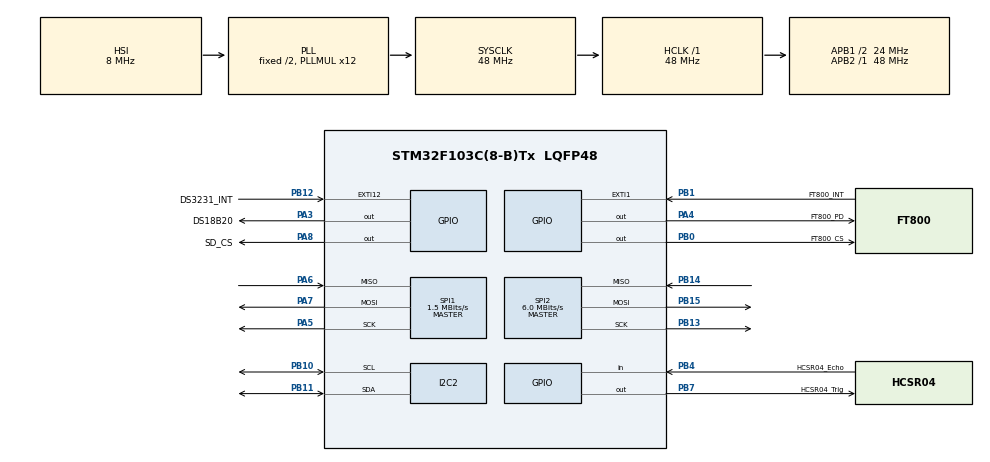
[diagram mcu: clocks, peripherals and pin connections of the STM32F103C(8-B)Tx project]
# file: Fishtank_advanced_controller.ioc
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I2C2.I2C_Mode=I2C_Standard
Mcu.Family=STM32F1
Mcu.Name=STM32F103C(8-B)Tx
Mcu.Package=LQFP48
NVIC.EXTI15_10_IRQn=true\:0\:0\:false\:false\:true\:true
NVIC.PriorityGroup=NVIC_PRIORITYGROUP_4
PA13.Mode=Serial_Wire
PA13.Signal=SYS_JTMS-SWDIO
PA14.Mode=Serial_Wire
PA14.Signal=SYS_JTCK-SWCLK
PA3.GPIO_Label=DS18B20
PA3.Signal=GPIO_Output
PA4.GPIO_Label=FT800_PD
PA4.Signal=GPIO_Output
PA5.Mode=Full_Duplex_Master
PA5.Signal=SPI1_SCK
PA6.Mode=Full_Duplex_Master
PA6.Signal=SPI1_MISO
PA7.Mode=Full_Duplex_Master
PA7.Signal=SPI1_MOSI
PA8.GPIO_Label=SD_CS
PA8.Signal=GPIO_Output
PB0.GPIO_Label=FT800_CS
PB0.Signal=GPIO_Output
PB1.GPIO_Label=FT800_INT
PB1.Signal=GPXTI1
PB10.Mode=I2C
PB10.Signal=I2C2_SCL
PB11.Mode=I2C
PB11.Signal=I2C2_SDA
PB12.GPIO_Label=DS3231_INT
PB12.GPIO_PuPd=GPIO_NOPULL
PB12.Signal=GPXTI12
PB13.Mode=Full_Duplex_Master
PB13.Signal=SPI2_SCK
PB14.Mode=Full_Duplex_Master
PB14.Signal=SPI2_MISO
PB15.Mode=Full_Duplex_Master
PB15.Signal=SPI2_MOSI
PB4.GPIO_Label=HCSR04_Echo
PB4.GPIO_PuPd=GPIO_NOPULL
PB4.Signal=GPIO_Input
PB7.GPIO_Label=HCSR04_Trig
PB7.Signal=GPIO_Output
ProjectManager.HeapSize=0x200
ProjectManager.StackSize=0x400
ProjectManager.TargetToolchain=SW4STM32
RCC.AHBFreq_Value=48000000
RCC.APB1CLKDivider=RCC_HCLK_DIV2
RCC.APB1Freq_Value=24000000
RCC.APB1TimFreq_Value=48000000
RCC.APB2Freq_Value=48000000
RCC.APB2TimFreq_Value=48000000
RCC.HCLKFreq_Value=48000000
RCC.PLLMUL=RCC_PLL_MUL12
RCC.SYSCLKFreq_VALUE=48000000
RCC.SYSCLKSource=RCC_SYSCLKSOURCE_PLLCLK
RCC.USBFreq_Value=48000000
SPI1.BaudRatePrescaler=SPI_BAUDRATEPRESCALER_32
SPI1.CalculateBaudRate=1.5 MBits/s
SPI1.Direction=SPI_DIRECTION_2LINES
SPI1.Mode=SPI_MODE_MASTER
SPI1.VirtualType=VM_MASTER
SPI2.BaudRatePrescaler=SPI_BAUDRATEPRESCALER_4
SPI2.CalculateBaudRate=6.0 MBits/s
SPI2.Direction=SPI_DIRECTION_2LINES
SPI2.Mode=SPI_MODE_MASTER
SPI2.VirtualType=VM_MASTER
TIM3.Period=65535
TIM3.Prescaler=47
VP_CRC_VS_CRC.Mode=CRC_Activate
VP_FATFS_VS_Generic.Mode=User_defined
VP_TIM3_VS_ClockSourceINT.Mode=Internal
board=Fishtank_advanced_controller

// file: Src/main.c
/**
  ******************************************************************************
  * File Name          : main.c
  * Description        : Main program body
  ******************************************************************************
  * This notice applies to any and all portions of this file
  * that are not between comment pairs USER CODE BEGIN and
  * USER CODE END. Other portions of this file, whether
  * inserted by the user or by software development tools
  * are owned by their respective copyright owners.
  *
  * Copyright (c) 2018 STMicroelectronics International N.V.
  * All rights reserved.
  *
  * Redistribution and use in source and binary forms, with or without
  * modification, are permitted, provided that the following conditions are met:
  *
  * 1. Redistribution of source code must retain the above copyright notice,
  *    this list of conditions and the following disclaimer.
  * 2. Redistributions in binary form must reproduce the above copyright notice,
  *    this list of conditions and the following disclaimer in the documentation
  *    and/or other materials provided with the distribution.
  * 3. Neither the name of STMicroelectronics nor the names of other
  *    contributors to this software may be used to endorse or promote products
  *    derived from this software without specific written permission.
  * 4. This software, including modifications and/or derivative works of this
  *    software, must execute solely and exclusively on microcontroller or
  *    microprocessor devices manufactured by or for STMicroelectronics.
  * 5. Redistribution and use of this software other than as permitted under
  *    this license is void and will automatically terminate your rights under
  *    this license.
  *
  * THIS SOFTWARE IS PROVIDED BY STMICROELECTRONICS AND CONTRIBUTORS "AS IS"
  * AND ANY EXPRESS, IMPLIED OR STATUTORY WARRANTIES, INCLUDING, BUT NOT
  * LIMITED TO, THE IMPLIED WARRANTIES OF MERCHANTABILITY, FITNESS FOR A
  * PARTICULAR PURPOSE AND NON-INFRINGEMENT OF THIRD PARTY INTELLECTUAL PROPERTY
  * RIGHTS ARE DISCLAIMED TO THE FULLEST EXTENT PERMITTED BY LAW. IN NO EVENT
  * SHALL STMICROELECTRONICS OR CONTRIBUTORS BE LIABLE FOR ANY DIRECT, INDIRECT,
  * INCIDENTAL, SPECIAL, EXEMPLARY, OR CONSEQUENTIAL DAMAGES (INCLUDING, BUT NOT
  * LIMITED TO, PROCUREMENT OF SUBSTITUTE GOODS OR SERVICES; LOSS OF USE, DATA,
  * OR PROFITS; OR BUSINESS INTERRUPTION) HOWEVER CAUSED AND ON ANY THEORY OF
  * LIABILITY, WHETHER IN CONTRACT, STRICT LIABILITY, OR TORT (INCLUDING
  * NEGLIGENCE OR OTHERWISE) ARISING IN ANY WAY OUT OF THE USE OF THIS SOFTWARE,
  * EVEN IF ADVISED OF THE POSSIBILITY OF SUCH DAMAGE.
  *
  ******************************************************************************
  */
#include "main.h"
#include "stm32f1xx_hal.h"
#include "crc.h"
#include "fatfs.h"
#include "i2c.h"
#include "spi.h"
#include "tim.h"
#include "gpio.h"

/* USER CODE BEGIN Includes */
#include "FT_Platform.h"
#include "onewire.h"
#include "ds18b20.h"
#include "hcsr04.h"
#include "ds3231.h"
#include "stm32_adafruit_sd.h"
#include "images/images.h"

#define SD_CARD_NOT_FORMATTED                    0
#define SD_CARD_FILE_NOT_SUPPORTED               1
#define SD_CARD_OPEN_FAIL                        2
#define FATFS_NOT_MOUNTED                        3
#define BSP_SD_INIT_FAILED                       4

/* USER CODE END Includes */

/* USER CODE BEGIN PV */
/* Private variables ---------------------------------------------------------*/
Ft_Gpu_Hal_Context_t host;

ft_char8_t StringArray[20];
void(* menu_actual)(void);
uint16_t touch_tag = 0;
uint16_t x_data[] = {1,2,3,4,5,6,7,8,9,10,11,12,13,14,15,16,17,18,19,20};
uint16_t y_data[] = {10,43,38,32,28,22,30,31,32,33,10,15,18,13,17,20,24,35,28,29,50};
uint32_t track_data = 0;
uint16_t value = 50;
uint16_t value2 = 230;
uint8_t brightness = 128;
char bufor[60];
char file_buf[10];

OneWire_t OW;
uint8_t DS_ROM[8];
float temperature;

float distance;

Ft_Bitmap_header_t *p_bmhdr;
uint32_t ending_address;

uint8_t sd_ok = 0, fopen_ok = 0, fmount_ok = 0, fwrite_ok = 0, fclose_ok = 0;
/* USER CODE END PV */

void SystemClock_Config(void);

/* USER CODE BEGIN PFP */
/* Private function prototypes -----------------------------------------------*/
int32_t map(int32_t value, int32_t inMin, int32_t inMax, int32_t outMin, int32_t outMax);
void test_screen(void);
void menu1(void);
void menu2(void);
/* USER CODE END PFP */

int main(void)
{

  /* MCU Configuration----------------------------------------------------------*/

  /* Reset of all peripherals, Initializes the Flash interface and the Systick. */
  HAL_Init();

  /* Configure the system clock */
  SystemClock_Config();

  /* Initialize all configured peripherals */
  MX_GPIO_Init();
  MX_SPI1_Init();
  MX_CRC_Init();
  MX_TIM3_Init();
  MX_I2C2_Init();
  MX_SPI2_Init();

  /* USER CODE BEGIN 2 */
  MX_FATFS_Init();

  uint32_t wbytes; /* File write counts */
  uint8_t wtext[] = "text to write logical disk"; /* File write buffer */

  Ft_Gpu_Hal_Init_43CTP(&host);
  MX_SPI1_SpeedUp();	//Speed-up SPI for FT800

	HAL_Delay(100);
	Ft_Gpu_CoCmd_Track(&host, 50, 240, 400, 20, 10);
	menu_actual = menu1;
// OneWire configuration

	OneWire_Init(&OW, DS18B20_GPIO_Port, DS18B20_Pin);

	if (OneWire_First(&OW))
		OneWire_GetFullROM(&OW, DS_ROM);
	if (DS18B20_Is(DS_ROM))
	{
		/* Set resolution */
		DS18B20_SetResolution(&OW, DS_ROM, DS18B20_Resolution_12bits);

		/* Start conversion on all sensors */
		DS18B20_StartAll(&OW);
	}

// HCSR04 init
	HCSR04_Init();

// RTC Init
	DS3231_Init(&rtc, &hi2c2, DS3231_I2C_ADDR);

// Load Icon into FT800

			Ft_Gpu_Hal_WrCmd32(&host,CMD_INFLATE);
			//	specify starting address in graphics RAM
				IMG_Icon_back_header->Address = 0L;
				Ft_Gpu_Hal_WrCmd32(&host,IMG_Icon_back_header->Address);
			//	write the .binh contents to the FT800 FIFO command buffer, filesize=
				Ft_Gpu_Hal_WrCmdBuf(&host, IMG_Icon_back_data, 1492);
				while(Ft_Gpu_Hal_Rd16(&host,REG_CMD_WRITE)!=Ft_Gpu_Hal_Rd16(&host, REG_CMD_READ));//Wait till the compression was done
				uint16_t x = Ft_Gpu_Hal_Rd16(&host,REG_CMD_WRITE);
				Ft_Gpu_CoCmd_GetPtr(&host,0);
				IMG_Icon_settings_header->Address = Ft_Gpu_Hal_Rd32(&host,(RAM_CMD+x+4));

				Ft_Gpu_Hal_WrCmd32(&host,CMD_INFLATE);
			//	specify starting address in graphics RAM
				Ft_Gpu_Hal_WrCmd32(&host,IMG_Icon_settings_header->Address);
			//	write the .binh contents to the FT800 FIFO command buffer, filesize=
				Ft_Gpu_Hal_WrCmdBuf(&host, IMG_Icon_settings_data, 1486);
				while(Ft_Gpu_Hal_Rd16(&host,REG_CMD_WRITE)!=Ft_Gpu_Hal_Rd16(&host, REG_CMD_READ));//Wait till the compression was done
				x = Ft_Gpu_Hal_Rd16(&host,REG_CMD_WRITE);
				Ft_Gpu_CoCmd_GetPtr(&host,0);
				IMG_Phial_header->Address = Ft_Gpu_Hal_Rd32(&host,(RAM_CMD + x + 4));

				Ft_Gpu_Hal_WrCmd32(&host,CMD_INFLATE);
			//	specify starting address in graphics RAM
				Ft_Gpu_Hal_WrCmd32(&host,IMG_Phial_header->Address);
			//	write the .binh contents to the FT800 FIFO command buffer, filesize=
				Ft_Gpu_Hal_WrCmdBuf(&host, IMG_Phial_data, 1992);
				while(Ft_Gpu_Hal_Rd16(&host,REG_CMD_WRITE)!=Ft_Gpu_Hal_Rd16(&host, REG_CMD_READ));//Wait till the compression was done
				x = Ft_Gpu_Hal_Rd16(&host,REG_CMD_WRITE);
				Ft_Gpu_CoCmd_GetPtr(&host,0);
				Ft_Gpu_Hal_Rd32(&host,(RAM_CMD + x + 4));

				uint8_t i = 0;
  /* USER CODE END 2 */

  /* Infinite loop */
  while (1)
  {

  /* USER CODE BEGIN 3 */
		/* Check if connected device is DS18B20 */
		if (DS18B20_Is(DS_ROM)) {
			/* Everything is done */
			if (DS18B20_AllDone(&OW)) {
				/* Read temperature from device */
				if (DS18B20_Read(&OW, DS_ROM, &temperature)) {
					/* Temp read OK, CRC is OK */

					/* Start again on all sensors */
					DS18B20_StartAll(&OW);

				}
			}
		}
//		DS3231_Get_RTC(&rtc);
		distance = HCSR04_Read();

		UINT tmp;
		if(FR_OK != f_open(&USERFile, "test.txt", FA_OPEN_ALWAYS | FA_READ | FA_WRITE))
			if(FR_OK != f_lseek(&USERFile, f_size(&USERFile)))
					fopen_ok = 1;

		char buf_tmp[10];
		memset(buf_tmp, 0x00, sizeof(buf_tmp));
		sprintf(buf_tmp, "TEST%d ", i++);

		if(FR_OK != f_write(&USERFile, buf_tmp, 10, &tmp))
				fwrite_ok = 1;
		f_close(&USERFile);

			  menu_actual();

  }
  /* USER CODE END 3 */

}

/** System Clock Configuration
*/
void SystemClock_Config(void)
{

  RCC_OscInitTypeDef RCC_OscInitStruct;
  RCC_ClkInitTypeDef RCC_ClkInitStruct;

    /**Initializes the CPU, AHB and APB busses clocks
    */
  RCC_OscInitStruct.OscillatorType = RCC_OSCILLATORTYPE_HSI;
  RCC_OscInitStruct.HSIState = RCC_HSI_ON;
  RCC_OscInitStruct.HSICalibrationValue = 16;
  RCC_OscInitStruct.PLL.PLLState = RCC_PLL_ON;
  RCC_OscInitStruct.PLL.PLLSource = RCC_PLLSOURCE_HSI_DIV2;
  RCC_OscInitStruct.PLL.PLLMUL = RCC_PLL_MUL12;
  if (HAL_RCC_OscConfig(&RCC_OscInitStruct) != HAL_OK)
  {
    _Error_Handler(__FILE__, __LINE__);
  }

    /**Initializes the CPU, AHB and APB busses clocks
    */
  RCC_ClkInitStruct.ClockType = RCC_CLOCKTYPE_HCLK|RCC_CLOCKTYPE_SYSCLK
                              |RCC_CLOCKTYPE_PCLK1|RCC_CLOCKTYPE_PCLK2;
  RCC_ClkInitStruct.SYSCLKSource = RCC_SYSCLKSOURCE_PLLCLK;
  RCC_ClkInitStruct.AHBCLKDivider = RCC_SYSCLK_DIV1;
  RCC_ClkInitStruct.APB1CLKDivider = RCC_HCLK_DIV2;
  RCC_ClkInitStruct.APB2CLKDivider = RCC_HCLK_DIV1;

  if (HAL_RCC_ClockConfig(&RCC_ClkInitStruct, FLASH_LATENCY_1) != HAL_OK)
  {
    _Error_Handler(__FILE__, __LINE__);
  }

    /**Configure the Systick interrupt time
    */
  HAL_SYSTICK_Config(HAL_RCC_GetHCLKFreq()/1000);

    /**Configure the Systick
    */
  HAL_SYSTICK_CLKSourceConfig(SYSTICK_CLKSOURCE_HCLK);

  /* SysTick_IRQn interrupt configuration */
  HAL_NVIC_SetPriority(SysTick_IRQn, 0, 0);
}

/* USER CODE BEGIN 4 */

void HAL_GPIO_EXTI_Callback(uint16_t GPIO_Pin)
{
	if(GPIO_Pin == DS3231_INT_Pin)
	{
		DS3231_Get_RTC(&rtc);
	}
}

int32_t map(int32_t value, int32_t inMin, int32_t inMax, int32_t outMin, int32_t outMax)
{
	return (value - inMin) * (outMax - outMin) / (inMax - inMin) + outMin;
}

unsigned int incCMDOffset(unsigned int currentOffset, unsigned char commandSize)
{
    unsigned int newOffset;															// Used to hold new offset
    newOffset = currentOffset + commandSize;						// Calculate new offset
    if(newOffset > 4095)																// If new offset past boundary...
    {
        newOffset = (newOffset - 4096);									// ... roll over pointer
    }
    return newOffset;																		// Return new offset
}

void menu1()
{
	Ft_Gpu_CoCmd_Dlstart(&host);

			/*Setting first screen*/
			Ft_App_WrCoCmd_Buffer(&host,CLEAR_COLOR_RGB(0xFF,0xFF,0xFF));//white color
			Ft_App_WrCoCmd_Buffer(&host,CLEAR(1,1,1));//clear screen

			track_data = Ft_Gpu_Hal_Rd32(&host, REG_TRACKER);
			if((track_data & 0xff) == 10)
				value = (track_data >> 16);

			Ft_App_WrCoCmd_Buffer(&host,COLOR_RGB(0xFF,0xFF,0x20));//red color
			Ft_Gpu_CoCmd_FgColor(&host, COLOR_RGB(0x00, 0x06, 0x70));
			Ft_App_WrCoCmd_Buffer(&host,TAG(10));
			Ft_Gpu_CoCmd_Slider(&host, 50, 240, 400, 20, 0, value, 0xFFFFFF);

			Ft_App_WrCoCmd_Buffer(&host,COLOR_RGB(0x01,0x00,0x00));
			sprintf(bufor, "ID: %u", track_data & 0xFF);
			Ft_Gpu_CoCmd_Text(&host, 10, 180, 28, 0, bufor);
			sprintf(bufor, "Val: %u", value);
			Ft_Gpu_CoCmd_Text(&host, 10, 200, 28, 0, bufor);

			Ft_App_WrCoCmd_Buffer(&host,COLOR_RGB(0x01,0x00,0x00));
			sprintf(bufor, "%2d:%02d:%02d", rtc.hour, rtc.min, rtc.sec);
			Ft_Gpu_CoCmd_Text(&host, 10, 100, 28, 0, bufor);

			sprintf(bufor, "%s %2d.%02d.%04d", rtc.week_day, rtc.mday, rtc.mon, rtc.year);
			Ft_Gpu_CoCmd_Text(&host, 10, 120, 28, 0, bufor);

			if(!sd_ok)
			{
				sprintf(bufor, "SD OK");
				Ft_Gpu_CoCmd_Text(&host, 10, 140, 28, 0, bufor);
			}
			else
			{
				sprintf(bufor, "SD ERROR");
				Ft_Gpu_CoCmd_Text(&host, 10, 140, 28, 0, bufor);
			}

			if(!fmount_ok)
			{
				sprintf(bufor, "fmount OK");
				Ft_Gpu_CoCmd_Text(&host, 10, 160, 28, 0, bufor);
			}
			else
			{
				sprintf(bufor, "fmount ERROR");
				Ft_Gpu_CoCmd_Text(&host, 10, 160, 28, 0, bufor);
			}

			if(!fopen_ok)
			{
				sprintf(bufor, "fopen OK");
				Ft_Gpu_CoCmd_Text(&host, 100, 140, 28, 0, bufor);
			}
			else
			{
				sprintf(bufor, "fopen ERROR");
				Ft_Gpu_CoCmd_Text(&host, 100, 140, 28, 0, bufor);
			}

			if(!fwrite_ok)
			{
				sprintf(bufor, "fwrite OK");
				Ft_Gpu_CoCmd_Text(&host, 120, 160, 28, 0, bufor);
			}
			else
			{
				sprintf(bufor, "fwrite ERROR");
				Ft_Gpu_CoCmd_Text(&host, 120, 160, 28, 0, bufor);
			}

			Ft_Gpu_CoCmd_Text(&host, 100, 200, 28, 0, file_buf);

			// BUTTON TEST
			Ft_App_WrCoCmd_Buffer(&host,TAG(11));
			Ft_App_WrCoCmd_Buffer(&host,COLOR_RGB(0xFF,0xFF,0xFF));
			Ft_Gpu_CoCmd_GradColor(&host, COLOR_RGB(0xFF, 0xFF, 0xFF));
			Ft_Gpu_CoCmd_FgColor(&host, COLOR_RGB(0x00, 0x70, 0x12));
			Ft_Gpu_CoCmd_Button(&host, 31,10, 160,60, 27,0, "Menu1");

			Ft_App_WrCoCmd_Buffer(&host,TAG(12));
			Ft_Gpu_CoCmd_GradColor(&host, COLOR_RGB(0xFF, 0xFF, 0xFF));
			Ft_Gpu_CoCmd_FgColor(&host, COLOR_RGB(0x70, 0x41, 0x00));
			Ft_Gpu_CoCmd_Button(&host, 275,10, 160,60, 27,0, "Brightness");
			//

			// icon setting
//

//			//specify the starting address of the bitmap in graphics RAM

			Ft_App_WrCoCmd_Buffer(&host,TAG(13));
			Ft_App_WrCoCmd_Buffer(&host, BITMAP_SOURCE(0L));
			p_bmhdr = (Ft_Bitmap_header_t *)&IMG_Icon_settings_header[0];
			Ft_App_WrCoCmd_Buffer(&host,BITMAP_LAYOUT(p_bmhdr->Format, p_bmhdr->Stride, p_bmhdr->Height));
			Ft_App_WrCoCmd_Buffer(&host, BITMAP_SIZE(NEAREST, BORDER, BORDER, p_bmhdr->Width, p_bmhdr->Height));
			Ft_App_WrCoCmd_Buffer(&host,BEGIN(BITMAPS));
			Ft_App_WrCoCmd_Buffer(&host,VERTEX2II(200, 100, 0, 0));
			// icon back

			Ft_App_WrCoCmd_Buffer(&host,TAG(14));
			Ft_App_WrCoCmd_Buffer(&host, BITMAP_SOURCE(IMG_Icon_settings_header->Address));
			p_bmhdr = (Ft_Bitmap_header_t *)&IMG_Icon_back_header[0];
			Ft_App_WrCoCmd_Buffer(&host,BITMAP_LAYOUT(p_bmhdr->Format, p_bmhdr->Stride, p_bmhdr->Height));
			Ft_App_WrCoCmd_Buffer(&host, BITMAP_SIZE(NEAREST, BORDER, BORDER, p_bmhdr->Width, p_bmhdr->Height));
			Ft_App_WrCoCmd_Buffer(&host,BEGIN(BITMAPS));
			Ft_App_WrCoCmd_Buffer(&host,VERTEX2II(250, 100, 0, 0));

			Ft_App_WrCoCmd_Buffer(&host, BITMAP_SOURCE(IMG_Phial_header->Address));
			p_bmhdr = (Ft_Bitmap_header_t *)&IMG_Phial_header[0];
			Ft_App_WrCoCmd_Buffer(&host,BITMAP_LAYOUT(p_bmhdr->Format, p_bmhdr->Stride, p_bmhdr->Height));
			Ft_App_WrCoCmd_Buffer(&host, BITMAP_SIZE(NEAREST, BORDER, BORDER, p_bmhdr->Width, p_bmhdr->Height));
			Ft_App_WrCoCmd_Buffer(&host,BEGIN(BITMAPS));
			Ft_App_WrCoCmd_Buffer(&host,VERTEX2II(300, 100, 0, 0));

			uint8_t level = map(value, 0, 65535, 0, 100);
			if(level < 30)
			{
				Ft_App_WrCoCmd_Buffer(&host, COLOR_RGB(0xFF, 0x00, 0x00));
			}
			else if(level < 45)
			{
				Ft_App_WrCoCmd_Buffer(&host, COLOR_RGB(0xFF, 0xA5, 0x00));
			}
			else
			{
				Ft_App_WrCoCmd_Buffer(&host, COLOR_RGB(0x00, 0xFF, 0x00));
			}
			Ft_App_WrCoCmd_Buffer(&host, SCISSOR_XY(317, 109 + map(value, 0, 65535, 90, 0)));
			Ft_App_WrCoCmd_Buffer(&host, SCISSOR_SIZE(16, 90 - map(value, 0, 65535, 90, 0)));
			Ft_App_WrCoCmd_Buffer(&host, LINE_WIDTH(8 * 16));
			Ft_App_WrCoCmd_Buffer(&host, BEGIN(LINES));
			Ft_App_WrCoCmd_Buffer(&host, VERTEX2F(325 * 16, 105 * 16));
			Ft_App_WrCoCmd_Buffer(&host, VERTEX2F(325 * 16, 186 * 16));

			touch_tag = Ft_Gpu_Hal_Rd8(&host,REG_TOUCH_TAG);
			if(touch_tag == 11)
			{
				Ft_App_WrCoCmd_Buffer(&host,COLOR_RGB(0x00,0x80,0x00));
				Ft_Gpu_CoCmd_Text(&host,(LCD_WIDTH/2), LCD_HEIGHT*2/5, 28, OPT_CENTERX, "Tu jesteœ");
			}

			if(touch_tag == 12)
			{
				menu_actual = menu2;
				Ft_Gpu_CoCmd_Track(&host, 50, 240, 400, 20, 9);
				Ft_Gpu_CoCmd_Track(&host, 50, 240, 0, 0, 10);
				while(touch_tag == 12)touch_tag = Ft_Gpu_Hal_Rd8(&host,REG_TOUCH_TAG);;
			}

			if(touch_tag == 13)
			{
				Ft_App_WrCoCmd_Buffer(&host,COLOR_RGB(0x00,0x80,0x00));
				Ft_Gpu_CoCmd_Text(&host,(LCD_WIDTH/2), LCD_HEIGHT*2/5, 28, OPT_CENTERX, "Ustawienia");
			}

			if(touch_tag == 14)
			{
				Ft_App_WrCoCmd_Buffer(&host,COLOR_RGB(0x00,0x80,0x00));
				Ft_Gpu_CoCmd_Text(&host,(LCD_WIDTH/2), LCD_HEIGHT*2/5, 28, OPT_CENTERX, "Back");
			}

			Ft_App_WrCoCmd_Buffer(&host,DISPLAY());
			Ft_Gpu_CoCmd_Swap(&host);
			/* Download the commands into fifo */
			Ft_App_Flush_Co_Buffer(&host);

			/* Wait till coprocessor completes the operation */
			Ft_Gpu_Hal_WaitCmdfifo_empty(&host);
}

void menu2()
{
	Ft_Gpu_CoCmd_Dlstart(&host);

			/*Setting first screen*/
			Ft_App_WrCoCmd_Buffer(&host,CLEAR_COLOR_RGB(0xff,0xff,0xff));//white color
			Ft_App_WrCoCmd_Buffer(&host,CLEAR(1,1,1));//clear screen

			track_data = Ft_Gpu_Hal_Rd32(&host, REG_TRACKER);
			if((track_data & 0xff) == 9)
			{
				value2 = (track_data >> 16);
				brightness = map(value2, 0, 65535, 1, 128);
				Ft_Gpu_Hal_Wr32(&host, REG_PWM_DUTY, brightness);
			}

			Ft_App_WrCoCmd_Buffer(&host,COLOR_RGB(0xF0,0xFF,0x20));//red color
			Ft_Gpu_CoCmd_FgColor(&host, COLOR_RGB(0x00, 0x76, 0x70));
			Ft_App_WrCoCmd_Buffer(&host,TAG(9));
			Ft_Gpu_CoCmd_Slider(&host, 50, 240, 400, 20, 0, brightness, 128);

			Ft_App_WrCoCmd_Buffer(&host,COLOR_RGB(0x01,0x00,0x00));
			sprintf(bufor, "ID: %u", track_data & 0xFF);
			Ft_Gpu_CoCmd_Text(&host, 10, 180, 28, 0, bufor);
			sprintf(bufor, "Val: %u", value2);
			Ft_Gpu_CoCmd_Text(&host, 10, 200, 28, 0, bufor);
			sprintf(bufor, "Brightness: %u", brightness);
			Ft_Gpu_CoCmd_Text(&host, 10, 160, 28, 0, bufor);

			sprintf(bufor, "Dystans: %.1f cm", distance);
			Ft_Gpu_CoCmd_Text(&host, 10, 120, 28, 0, bufor);

			sprintf(bufor, "Temperatura: %.1f *C", temperature);
			Ft_Gpu_CoCmd_Text(&host, 10, 100, 28, 0, bufor);

			// BUTTON TEST
			Ft_App_WrCoCmd_Buffer(&host,TAG(11));
			Ft_App_WrCoCmd_Buffer(&host,COLOR_RGB(0xFF,0xFF,0xFF));
			Ft_Gpu_CoCmd_GradColor(&host, COLOR_RGB(0xFF, 0xFF, 0xFF));
			Ft_Gpu_CoCmd_FgColor(&host, COLOR_RGB(0x70, 0x41, 0x00));
			Ft_Gpu_CoCmd_Button(&host, 31,10, 160,60, 27,0, "Menu1");

			Ft_App_WrCoCmd_Buffer(&host,TAG(12));
			Ft_Gpu_CoCmd_GradColor(&host, COLOR_RGB(0xFF, 0xFF, 0xFF));
			Ft_Gpu_CoCmd_FgColor(&host, COLOR_RGB(0x00, 0x70, 0x12));
			Ft_Gpu_CoCmd_Button(&host, 275,10, 160,60, 27,0, "Brightness");
			//

			touch_tag = Ft_Gpu_Hal_Rd8(&host,REG_TOUCH_TAG);
			if(touch_tag == 11)
			{
				menu_actual = menu1;
				Ft_Gpu_CoCmd_Track(&host, 50, 240, 400, 20, 10);
				Ft_Gpu_CoCmd_Track(&host, 50, 240, 0, 0, 9);
				while(touch_tag == 11)touch_tag = Ft_Gpu_Hal_Rd8(&host,REG_TOUCH_TAG);;
			}

			if(touch_tag == 12)
			{
				Ft_App_WrCoCmd_Buffer(&host,COLOR_RGB(0x00,0x80,0x00));
				Ft_Gpu_CoCmd_Text(&host,(LCD_WIDTH/2), LCD_HEIGHT*2/5, 28, OPT_CENTERX, "Tu jesteœ");
			}

			Ft_App_WrCoCmd_Buffer(&host,DISPLAY());
			Ft_Gpu_CoCmd_Swap(&host);
			/* Download the commands into fifo */
			Ft_App_Flush_Co_Buffer(&host);

			/* Wait till coprocessor completes the operation */
			Ft_Gpu_Hal_WaitCmdfifo_empty(&host);
}

void test_screen(void)
{
	uint8_t touch_tag = 0;

	Ft_Gpu_CoCmd_Dlstart(&host);
	/*Setting first screen*/
	Ft_App_WrCoCmd_Buffer(&host,CLEAR_COLOR_RGB(0xff,0xff,0xff));//white color
	Ft_App_WrCoCmd_Buffer(&host,CLEAR(1,1,1));//clear screen

	Ft_App_WrCoCmd_Buffer(&host,COLOR_RGB(0x80,0x00,0x00));//red color
	Ft_Gpu_CoCmd_Text(&host,(LCD_WIDTH/2), LCD_HEIGHT/5, 28, OPT_CENTERX, "Touch test");

	Ft_App_WrCoCmd_Buffer(&host,COLOR_RGB(0xff,0xff,0xff));
	Ft_App_WrCoCmd_Buffer(&host,TAG(249));
	Ft_Gpu_CoCmd_Button(&host,LCD_WIDTH/2-50,LCD_HEIGHT/5*4,100,50,20,0, "Push me");

	touch_tag = Ft_Gpu_Hal_Rd8(&host,REG_TOUCH_TAG);
	if(touch_tag == 249)
	{
		Ft_App_WrCoCmd_Buffer(&host,COLOR_RGB(0x00,0x80,0x00));
		Ft_Gpu_CoCmd_Text(&host,(LCD_WIDTH/2), LCD_HEIGHT*2/5, 28, OPT_CENTERX, "TOUCHED");
	}

	Ft_App_WrCoCmd_Buffer(&host,DISPLAY());
	Ft_Gpu_CoCmd_Swap(&host);
	/* Download the commands into fifo */
	Ft_App_Flush_Co_Buffer(&host);

	/* Wait till coprocessor completes the operation */
	Ft_Gpu_Hal_WaitCmdfifo_empty(&host);
}

/* USER CODE END 4 */

void _Error_Handler(char * file, int line)
{
  while(1)
  {
  }
}

/************************ (C) COPYRIGHT STMicroelectronics *****END OF FILE****/
